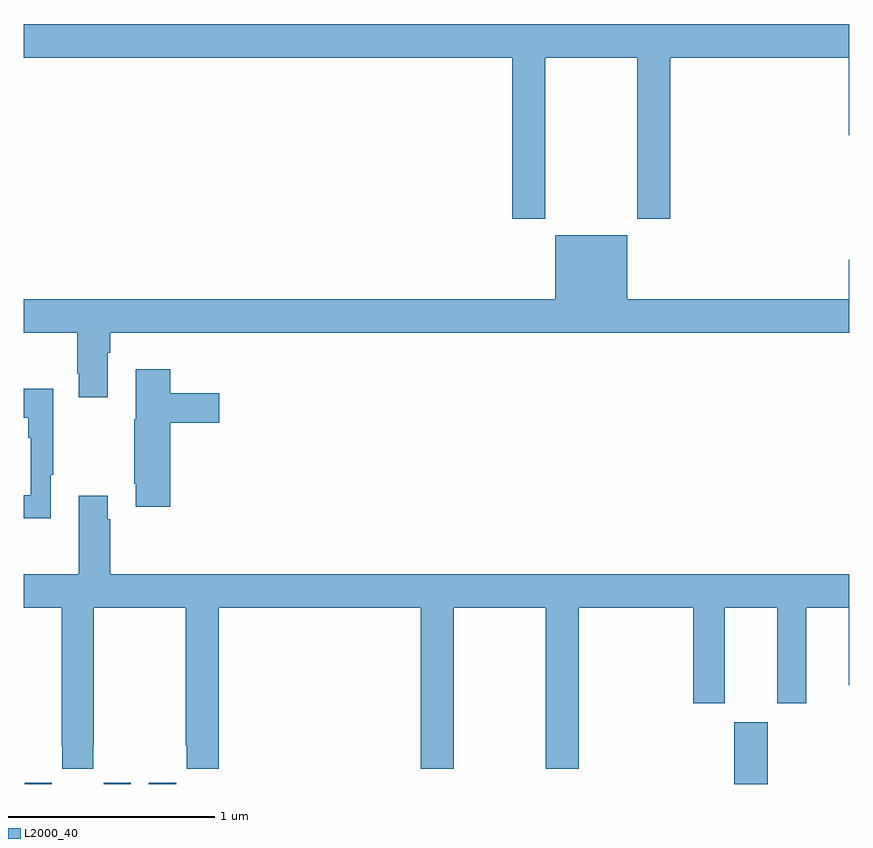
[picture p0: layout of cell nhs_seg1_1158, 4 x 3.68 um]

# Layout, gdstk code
import gdstk
lib = gdstk.Library(unit=1e-6, precision=1e-09)
def R(c, l, rs):  # rectangles x0, y0, x1, y1
    for r in rs: c.add(gdstk.rectangle(r[:2], r[2:], *l))
def P(c, l, *ps):  # polygons
    for p in ps: c.add(gdstk.Polygon(p, *l))
L2000_40 = (2000, 40)

nhs_seg1_1158 = lib.new_cell('nhs_seg1_1158')
R(nhs_seg1_1158, L2000_40, [(173.006,564.199,173.136,564.205), (173.388,564.199,173.518,564.205), (173.606,564.199,173.74,564.205), (176.441,564.199,176.605,564.499)])
P(nhs_seg1_1158, L2000_40, [(175.527,567.716),(175.972,567.716),(175.972,566.937),(176.132,566.937),(176.132,567.716),(176.996,567.716),(176.996,567.342),(177,567.342),(177,567.88),(173,567.88),(173,567.716),(175.367,567.716),(175.367,566.937),(175.527,566.937)],
  [(173.407,566.288),(173.42,566.288),(173.42,566.384),(177,566.384),(177,566.737),(176.996,566.737),(176.996,566.548),(175.924,566.548),(175.924,566.857),(175.574,566.857),(175.574,566.548),(173,566.548),(173,566.384),(173.26,566.384),(173.26,566.185),(173.267,566.185),(173.267,566.073),(173.407,566.073)],
  [(173.711,565.949),(173.947,565.949),(173.947,566.091),(173.711,566.091),(173.711,566.209),(173.543,566.209),(173.543,565.965),(173.536,565.965),(173.536,565.654),(173.543,565.654),(173.543,565.542),(173.711,565.542)],
  [(173.131,565.697),(173.143,565.697),(173.143,566.113),(173,566.113),(173,565.973),(173.022,565.973),(173.022,565.877),(173.034,565.877),(173.034,565.598),(173,565.598),(173,565.485),(173.131,565.485)],
  [(173.337,564.385),(173.34,564.385),(173.34,565.052),(173.785,565.052),(173.785,564.385),(173.791,564.385),(173.791,564.273),(173.945,564.273),(173.945,565.052),(174.923,565.052),(174.923,564.273),(175.083,564.273),(175.083,565.052),(175.528,565.052),(175.528,564.273),(175.688,564.273),(175.688,565.052),(176.243,565.052),(176.243,564.591),(176.395,564.591),(176.395,565.052),(176.651,565.052),(176.651,564.591),(176.791,564.591),(176.791,565.052),(176.996,565.052),(176.996,564.678),(177,564.678),(177,565.216),(173.42,565.216),(173.42,565.481),(173.407,565.481),(173.407,565.594),(173.267,565.594),(173.267,565.216),(173,565.216),(173,565.052),(173.185,565.052),(173.185,564.385),(173.187,564.385),(173.187,564.273),(173.337,564.273)])

lib.write_gds('nhs_seg1_1158.gds')
